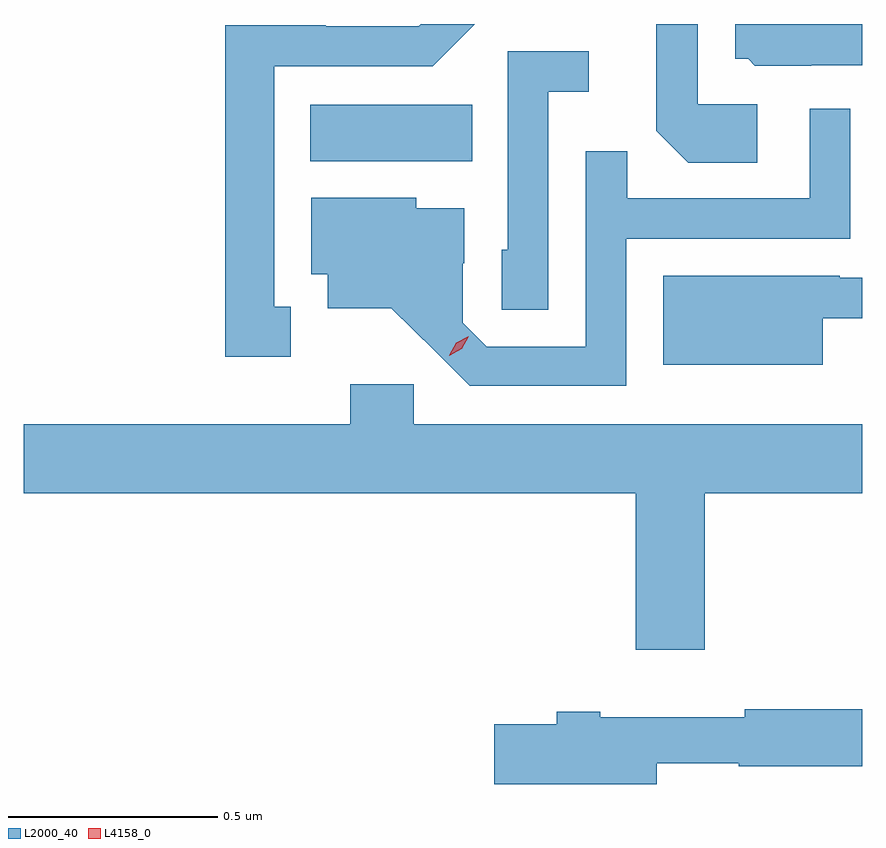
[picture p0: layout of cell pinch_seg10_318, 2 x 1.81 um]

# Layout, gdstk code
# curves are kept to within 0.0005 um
import gdstk
lib = gdstk.Library(unit=1e-6, precision=1e-09)
def R(c, l, rs):  # rectangles x0, y0, x1, y1
    for r in rs: c.add(gdstk.rectangle(r[:2], r[2:], *l))
def P(c, l, *ps):  # polygons
    for p in ps: c.add(gdstk.Polygon(p, *l))
L2000_40 = (2000, 40)
L4158_0 = (4158, 0)

pinch_seg10_318 = lib.new_cell('pinch_seg10_318')
R(pinch_seg10_318, L2000_40, [(415.979,1290.452,416.366,1290.586)])
P(pinch_seg10_318, L2000_40, [(415.933,1290.105),(415.894,1290.105),(415.894,1290.678),(416.271,1290.678),(416.372,1290.779),(416.243,1290.779),(416.238,1290.774),(416.016,1290.774),(416.016,1290.776),(415.776,1290.776),(415.776,1289.985),(415.933,1289.985)],
  [(417.046,1290.588),(416.904,1290.588),(416.904,1290.779),(416.805,1290.779),(416.805,1290.524),(416.881,1290.448),(417.046,1290.448)],
  [(417.174,1290.681),(417.296,1290.681),(417.296,1290.779),(416.993,1290.779),(416.993,1290.696),(417.024,1290.696),(417.04,1290.68),(417.174,1290.68)],
  [(416.547,1290.617),(416.644,1290.617),(416.644,1290.714),(416.451,1290.714),(416.451,1290.24),(416.436,1290.24),(416.436,1290.097),(416.547,1290.097)],
  [(416.733,1290.267),(417.267,1290.267),(417.267,1290.577),(417.171,1290.577),(417.171,1290.363),(416.735,1290.363),(416.735,1290.476),(416.637,1290.476),(416.637,1290.009),(416.4,1290.009),(416.343,1290.066),(416.343,1290.208),(416.347,1290.208),(416.347,1290.34),(416.232,1290.34),(416.232,1290.364),(415.982,1290.364),(415.982,1290.182),(416.021,1290.182),(416.021,1290.101),(416.173,1290.101),(416.36,1289.916),(416.733,1289.916)],
  [(417.202,1290.077),(417.296,1290.077),(417.296,1290.174),(417.242,1290.174),(417.242,1290.178),(416.822,1290.178),(416.822,1289.966),(417.202,1289.966)],
  [(416.92,1289.66),(417.296,1289.66),(417.296,1289.824),(416.226,1289.824),(416.226,1289.92),(416.075,1289.92),(416.075,1289.824),(415.296,1289.824),(415.296,1289.66),(416.756,1289.66),(416.756,1289.286),(416.92,1289.286)],
  [(416.806,1289.016),(417.002,1289.016),(417.002,1289.008),(417.296,1289.008),(417.296,1289.144),(417.016,1289.144),(417.016,1289.125),(416.671,1289.125),(416.671,1289.138),(416.567,1289.138),(416.567,1289.108),(416.418,1289.108),(416.418,1288.966),(416.806,1288.966)])
P(pinch_seg10_318, L4158_0, [(416.311,1289.988),(416.311,1289.989),(416.328,1290.019),(416.358,1290.034),(416.358,1290.034),(416.358,1290.034),(416.341,1290.004),(416.311,1289.988)])

lib.write_gds('pinch_seg10_318.gds')
